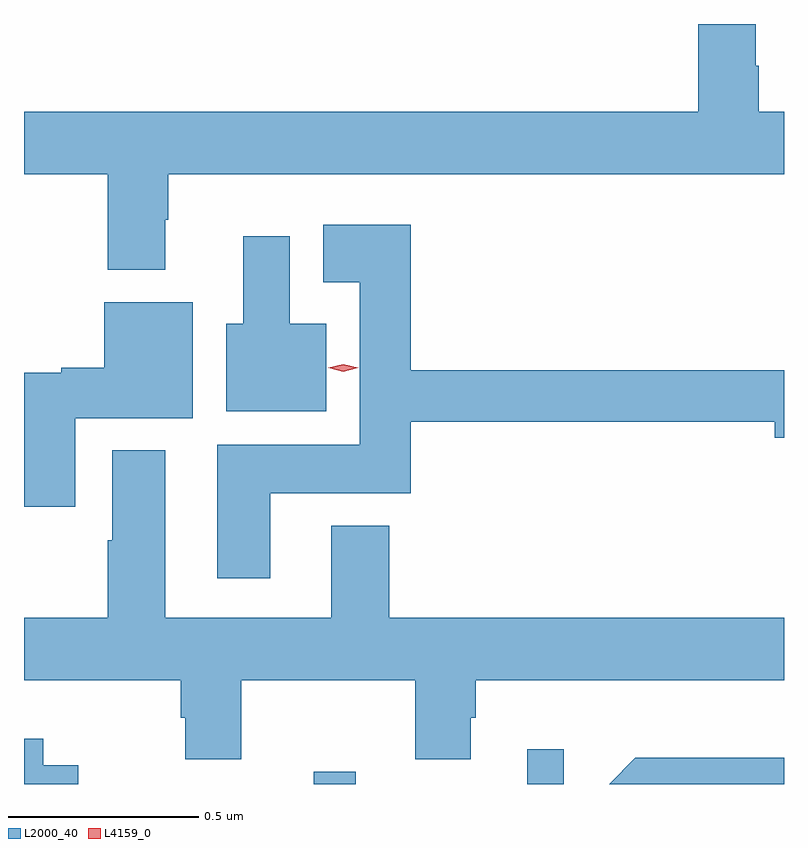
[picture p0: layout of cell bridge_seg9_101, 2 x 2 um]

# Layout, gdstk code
import gdstk
lib = gdstk.Library(unit=1e-6, precision=1e-09)
def R(c, l, rs):  # rectangles x0, y0, x1, y1
    for r in rs: c.add(gdstk.rectangle(r[:2], r[2:], *l))
def P(c, l, *ps):  # polygons
    for p in ps: c.add(gdstk.Polygon(p, *l))
L2000_40 = (2000, 40)
L4159_0 = (4159, 0)

bridge_seg9_101 = lib.new_cell('bridge_seg9_101')
R(bridge_seg9_101, L2000_40, [(738.223,1198.811,738.334,1198.843), (738.785,1198.811,738.882,1198.903)])
P(bridge_seg9_101, L2000_40, [(737.833,1200.296),(737.841,1200.296),(737.841,1200.416),(739.461,1200.416),(739.461,1200.58),(739.395,1200.58),(739.395,1200.701),(739.387,1200.701),(739.387,1200.811),(739.235,1200.811),(739.235,1200.58),(737.461,1200.58),(737.461,1200.416),(737.681,1200.416),(737.681,1200.164),(737.833,1200.164)],
  [(738.109,1199.576),(738.479,1199.576),(738.479,1199.764),(739.436,1199.764),(739.436,1199.722),(739.461,1199.722),(739.461,1199.9),(738.479,1199.9),(738.479,1200.283),(738.249,1200.283),(738.249,1200.131),(738.344,1200.131),(738.344,1199.704),(737.969,1199.704),(737.969,1199.352),(738.109,1199.352)],
  [(738.256,1200.022),(738.16,1200.022),(738.16,1200.253),(738.038,1200.253),(738.038,1200.022),(737.993,1200.022),(737.993,1199.792),(738.256,1199.792)],
  [(737.596,1199.774),(737.905,1199.774),(737.905,1200.079),(737.672,1200.079),(737.672,1199.906),(737.559,1199.906),(737.559,1199.893),(737.461,1199.893),(737.461,1199.541),(737.596,1199.541)],
  [(738.033,1199.084),(738.49,1199.084),(738.49,1198.876),(738.637,1198.876),(738.637,1198.986),(738.65,1198.986),(738.65,1199.084),(739.461,1199.084),(739.461,1199.248),(738.422,1199.248),(738.422,1199.491),(738.269,1199.491),(738.269,1199.248),(737.833,1199.248),(737.833,1199.689),(737.693,1199.689),(737.693,1199.453),(737.681,1199.453),(737.681,1199.248),(737.461,1199.248),(737.461,1199.084),(737.873,1199.084),(737.873,1198.986),(737.885,1198.986),(737.885,1198.876),(738.033,1198.876)],
  [(737.604,1198.86),(737.512,1198.86),(737.512,1198.93),(737.461,1198.93),(737.461,1198.811),(737.604,1198.811)],
  [(739.461,1198.88),(739.07,1198.88),(739.001,1198.811),(739.461,1198.811)])
P(bridge_seg9_101, L4159_0, [(738.301,1199.896),(738.261,1199.906),(738.261,1199.906),(738.261,1199.906),(738.301,1199.916),(738.34,1199.906),(738.34,1199.906),(738.34,1199.906)])

lib.write_gds('bridge_seg9_101.gds')
